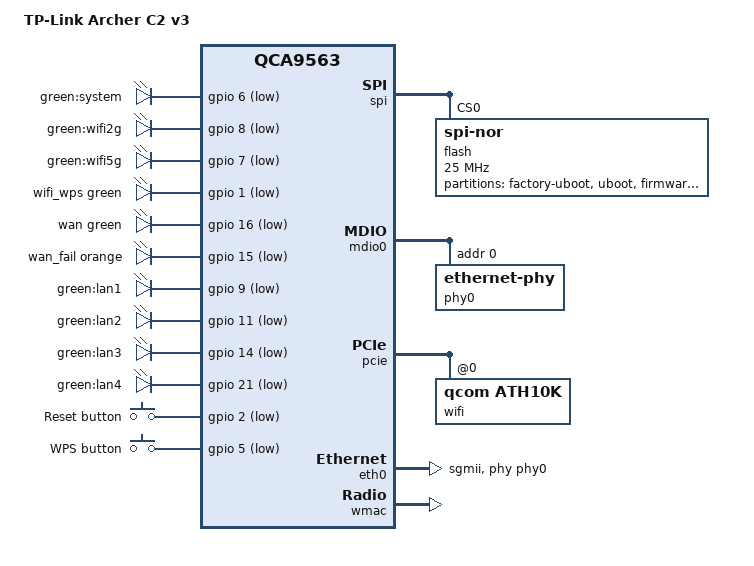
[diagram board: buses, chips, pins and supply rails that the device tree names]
// SPDX-License-Identifier: GPL-2.0-or-later OR MIT

#include "qca956x.dtsi"

#include <dt-bindings/gpio/gpio.h>
#include <dt-bindings/input/input.h>
#include <dt-bindings/leds/common.h>

/ {
	compatible = "tplink,archer-c2-v3", "qca,qca9563";
	model = "TP-Link Archer C2 v3";

	aliases {
		led-boot = &led_system;
		led-failsafe = &led_system;
		led-running = &led_system;
		led-upgrade = &led_system;
	};

	leds {
		compatible = "gpio-leds";

		led_system: system {
			label = "green:system";
			gpios = <&gpio 6 GPIO_ACTIVE_LOW>;
			default-state = "on";
		};

		wifi2g {
			label = "green:wifi2g";
			gpios = <&gpio 8 GPIO_ACTIVE_LOW>;
			linux,default-trigger = "phy1tpt";
		};

		wifi5g {
			label = "green:wifi5g";
			gpios = <&gpio 7 GPIO_ACTIVE_LOW>;
			linux,default-trigger = "phy0tpt";
		};

		wifi_wps {
			function = LED_FUNCTION_WPS;
			color = <LED_COLOR_ID_GREEN>;
			gpios = <&gpio 1 GPIO_ACTIVE_LOW>;
		};

		wan {
			function = LED_FUNCTION_WAN;
			color = <LED_COLOR_ID_GREEN>;
			gpios = <&gpio 16 GPIO_ACTIVE_LOW>;
		};

		wan_fail {
			function = LED_FUNCTION_WAN;
			color = <LED_COLOR_ID_ORANGE>;
			gpios = <&gpio 15 GPIO_ACTIVE_LOW>;
		};

		lan1 {
			label = "green:lan1";
			gpios = <&gpio 9 GPIO_ACTIVE_LOW>;
		};

		lan2 {
			label = "green:lan2";
			gpios = <&gpio 11 GPIO_ACTIVE_LOW>;
		};

		lan3 {
			label = "green:lan3";
			gpios = <&gpio 14 GPIO_ACTIVE_LOW>;
		};

		lan4 {
			label = "green:lan4";
			gpios = <&gpio 21 GPIO_ACTIVE_LOW>;
		};
	};

	keys {
		compatible = "gpio-keys";

		reset {
			label = "Reset button";
			linux,code = <KEY_RESTART>;
			gpios = <&gpio 2 GPIO_ACTIVE_LOW>;
			debounce-interval = <60>;
		};

		wps {
			label = "WPS button";
			linux,code = <KEY_WPS_BUTTON>;
			gpios = <&gpio 5 GPIO_ACTIVE_LOW>;
			debounce-interval = <60>;
		};
	};
};

&spi {
	status = "okay";

	flash@0 {
		compatible = "jedec,spi-nor";
		reg = <0>;
		spi-max-frequency = <25000000>;

		partitions {
			compatible = "fixed-partitions";
			#address-cells = <1>;
			#size-cells = <1>;

			partition@0 {
				label = "factory-uboot";
				reg = <0x000000 0x020000>;
				read-only;
			};

			partition@20000 {
				label = "uboot";
				reg = <0x020000 0x10000>;
				read-only;
			};

			partition@30000 {
				label = "firmware";
				reg = <0x030000 0x7A0000>;
				compatible = "denx,uimage";
			};

			partition@7e0000 {
				label = "info";
				reg = <0x7e0000 0x010000>;
				read-only;

				nvmem-layout {
					compatible = "fixed-layout";
					#address-cells = <1>;
					#size-cells = <1>;

					macaddr_info_8: macaddr@8 {
						compatible = "mac-base";
						reg = <0x8 0x6>;
						#nvmem-cell-cells = <1>;
					};
				};
			};

			partition@7f0000 {
				label = "art";
				reg = <0x7f0000 0x010000>;
				read-only;

				nvmem-layout {
					compatible = "fixed-layout";
					#address-cells = <1>;
					#size-cells = <1>;

					cal_art_1000: calibration@1000 {
						reg = <0x1000 0x440>;
					};

					cal_art_5000: calibration@5000 {
						reg = <0x5000 0x844>;
					};
				};
			};
		};
	};
};

&mdio0 {
	status = "okay";

	phy0: ethernet-phy@0 {
		reg = <0>;
		phy-mode = "sgmii";
		qca,mib-poll-interval = <500>;

		qca,ar8327-initvals = <
			0x04 0x00080080 /* PORT0 PAD MODE CTRL */
			0x7c 0x0000007e /* PORT0_STATUS */
		>;
	};
};

&pcie {
	status = "okay";

	wifi@0,0 {
		compatible = "qcom,ath10k";
		reg = <0x0000 0 0 0 0>;
		nvmem-cells = <&cal_art_5000>, <&macaddr_info_8 (-1)>;
		nvmem-cell-names = "calibration", "mac-address";
	};
};

&eth0 {
	status = "okay";

	nvmem-cells = <&macaddr_info_8 0>;
	nvmem-cell-names = "mac-address";
	phy-mode = "sgmii";
	phy-handle = <&phy0>;
};

&wmac {
	status = "okay";

	nvmem-cells = <&macaddr_info_8 0>, <&cal_art_1000>;
	nvmem-cell-names = "mac-address", "calibration";
};
